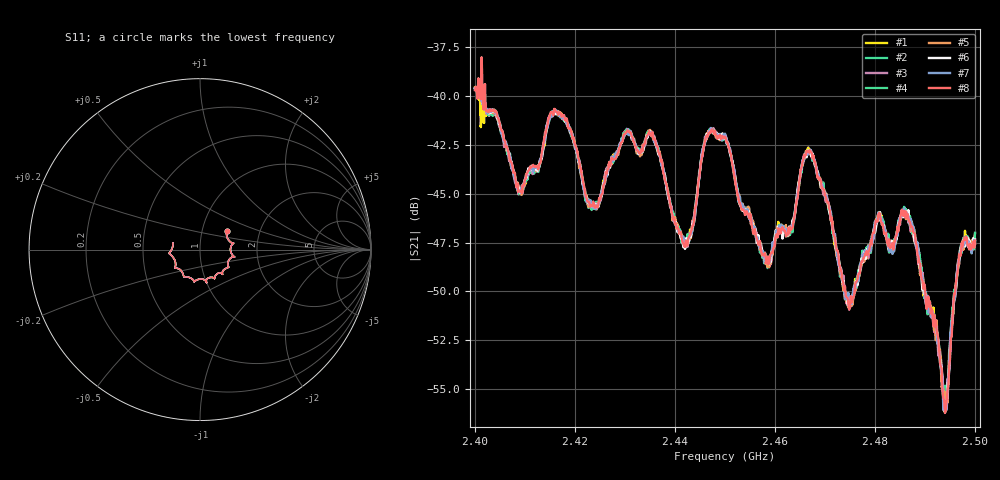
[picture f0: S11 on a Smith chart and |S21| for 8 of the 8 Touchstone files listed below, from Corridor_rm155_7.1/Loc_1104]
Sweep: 2.4 GHz to 2.5 GHz
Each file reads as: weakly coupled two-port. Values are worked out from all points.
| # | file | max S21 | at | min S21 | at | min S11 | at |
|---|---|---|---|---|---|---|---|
| 1 | Lab_139_1Ch1.s2p | -39.49 dB | 2.4015 GHz | -55.7 dB | 2.494 GHz | -15.9 dB | 2.4897 GHz |
| 2 | Lab_139_3Ch1.s2p | -39.62 dB | 2.4 GHz | -55.3 dB | 2.4943 GHz | -15.9 dB | 2.4897 GHz |
| 3 | Lab_139_5Ch1.s2p | -39.60 dB | 2.4 GHz | -56.0 dB | 2.4942 GHz | -15.9 dB | 2.4898 GHz |
| 4 | Lab_139_6Ch1.s2p | -39.54 dB | 2.4002 GHz | -56.1 dB | 2.4938 GHz | -15.9 dB | 2.4898 GHz |
| 5 | Lab_139_7Ch1.s2p | -39.54 dB | 2.4003 GHz | -56.0 dB | 2.494 GHz | -15.9 dB | 2.4898 GHz |
| 6 | Lab_139_8Ch1.s2p | -39.57 dB | 2.4003 GHz | -56.1 dB | 2.4938 GHz | -15.9 dB | 2.4898 GHz |
| 7 | Lab_139_9Ch1.s2p | -39.58 dB | 2.4002 GHz | -56.1 dB | 2.4937 GHz | -15.9 dB | 2.4898 GHz |
| 8 | Lab_139_10Ch1.s2p | -38.02 dB | 2.4013 GHz | -56.2 dB | 2.494 GHz | -15.9 dB | 2.4895 GHz |
